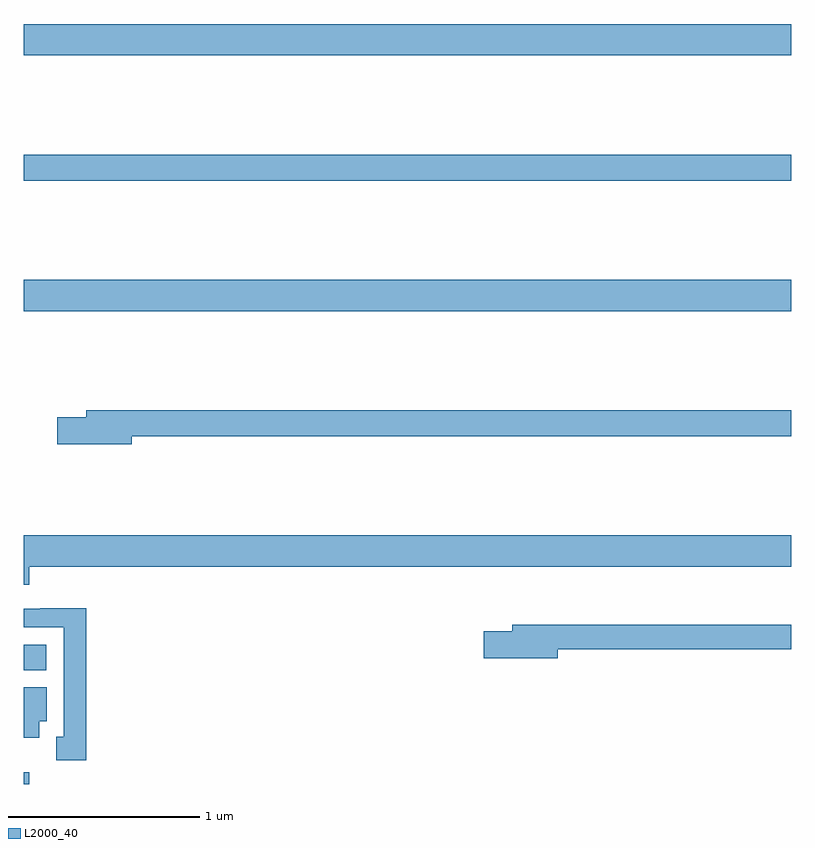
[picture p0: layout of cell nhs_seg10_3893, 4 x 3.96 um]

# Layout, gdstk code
import gdstk
lib = gdstk.Library(unit=1e-6, precision=1e-09)
def R(c, l, rs):  # rectangles x0, y0, x1, y1
    for r in rs: c.add(gdstk.rectangle(r[:2], r[2:], *l))
def P(c, l, *ps):  # polygons
    for p in ps: c.add(gdstk.Polygon(p, *l))
L2000_40 = (2000, 40)

nhs_seg10_3893 = lib.new_cell('nhs_seg10_3893')
R(nhs_seg10_3893, L2000_40, [(325,1316.5,325.028,1316.56), (325,1317.092,325.117,1317.226), (325,1318.964,329,1319.128), (325,1319.644,329,1319.78), (325,1320.296,329,1320.46)])
P(nhs_seg10_3893, L2000_40, [(325.564,1318.312),(329,1318.312),(329,1318.448),(325.325,1318.448),(325.325,1318.412),(325.176,1318.412),(325.176,1318.27),(325.564,1318.27)],
  [(325.028,1317.632),(329,1317.632),(329,1317.796),(325,1317.796),(325,1317.539),(325.028,1317.539)],
  [(325.327,1317.416),(325.086,1317.416),(325.086,1317.414),(325,1317.414),(325,1317.318),(325.208,1317.318),(325.208,1316.745),(325.169,1316.745),(325.169,1316.625),(325.327,1316.625)],
  [(327.784,1317.202),(329,1317.202),(329,1317.331),(327.545,1317.331),(327.545,1317.297),(327.396,1317.297),(327.396,1317.155),(327.784,1317.155)],
  [(325.081,1316.828),(325.12,1316.828),(325.12,1317.004),(325,1317.004),(325,1316.741),(325.081,1316.741)])

lib.write_gds('nhs_seg10_3893.gds')
